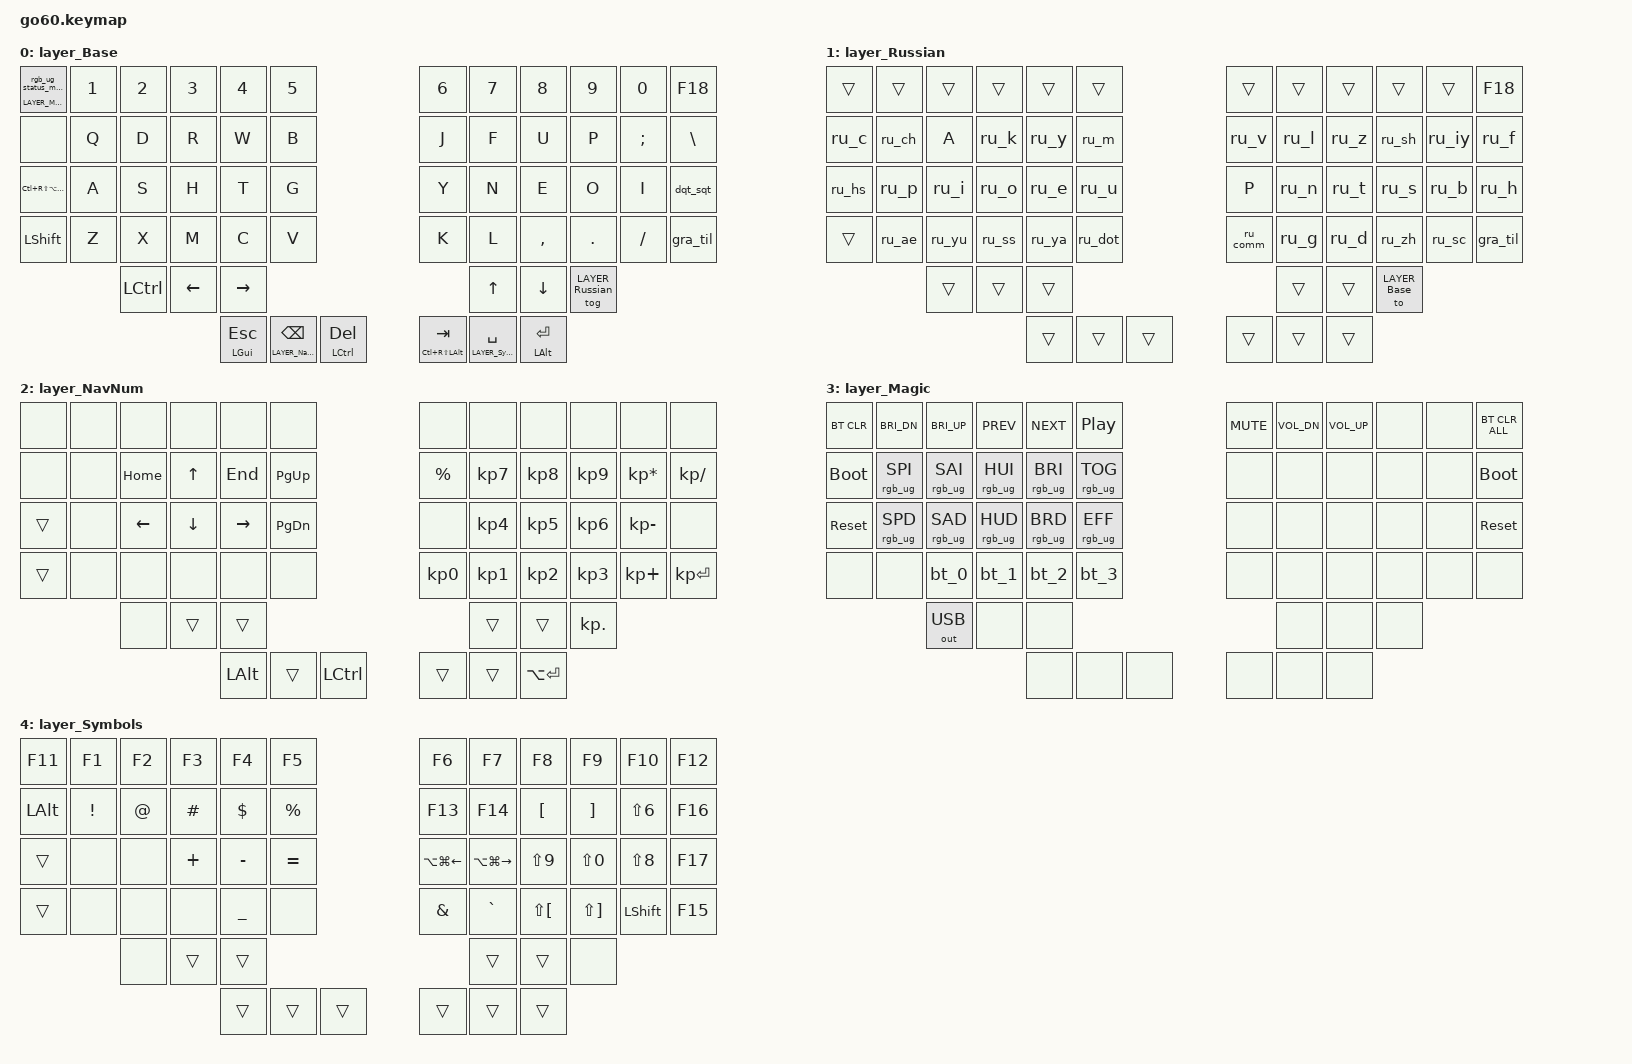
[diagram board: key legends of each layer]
/*
 * Copyright (c) 2020 The ZMK Contributors
 *
 * SPDX-License-Identifier: MIT
 *
 * Go60 keymap ported from the authoritative Glove80 source
 * https://github.com/ai212983/glove80 at origin/main commit
 * 8c2660d31894c59b61eb14e97ef6211ae06041ac.
 * See MIGRATION.md for provenance and the full move list.
 */

#include <behaviors.dtsi>

#include <dt-bindings/zmk/bt.h>
#include <dt-bindings/zmk/ext_power.h>
#include <dt-bindings/zmk/keys.h>
#include <dt-bindings/zmk/outputs.h>
#include <dt-bindings/zmk/rgb.h>
#include <dt-bindings/zmk/input_transform.h>
#include <dt-bindings/zmk/pointing.h>

#include <input/processors.dtsi>
#include <zephyr/dt-bindings/input/input-event-codes.h>

// layers
#define LAYER_Base 0
#define LAYER_Russian 1
#define LAYER_NavNum 2
#define LAYER_Magic 3
#define LAYER_Symbols 4

/* Imported from Glove80 source: mod-combos and host keys */
#define HYPR LC(RS(LA(LGUI)))
#define MEH LC(RS(LALT))

#define PRV_SPC F13
#define NXT_SPC F14
#define MSN_CTL F15
#define APP_LNC F16
#define APP_SWT F17

#define PSWD F18

#define PRV_TAB LA(LG(LEFT))
#define NXT_TAB LA(LG(RIGHT))

#define HOST_OS 2  // set to 2 for macOS/Windows-Alt-Codes, default is 0 (Windows)

#include "helper.h"
#include "international_chars/russian.dtsi"


// bind keys swap to LEFT shift, so they do not intefere with MEH/HYPER
#define L_MODMORPH(name, uc_binding, shifted_uc_binding) \
    / { \
        behaviors { \
            name: name { \
                compatible = "zmk,behavior-mod-morph"; \
                label = ZMK_HELPER_STRINGIFY(L_MORPH_ ## name); \
                #binding-cells = <0>; \
                bindings = <uc_binding>, <shifted_uc_binding>; \
                mods = <(MOD_LSFT)>; \
            }; \
        }; \
    };

L_MODMORPH(dqt_sqt, &kp DQT, &kp SQT)
L_MODMORPH(gra_til, &kp GRAVE, &kp TILDE)


/ {
    input_processors {
        zip_click_to_right_click_mapper: zip_click_to_right_click_mapper {
            compatible = "zmk,input-processor-code-mapper";
            #input-processor-cells = <0>;
            type = <INPUT_EV_KEY>;
            map = <INPUT_BTN_0 INPUT_BTN_1>;
        };
    };

    behaviors {
        magic: magic {
            compatible = "zmk,behavior-hold-tap";
            #binding-cells = <2>;
            flavor = "tap-preferred";
            tapping-term-ms = <200>;
            bindings = <&mo>, <&rgb_ug_status_macro>;
        };

        bt_0: bt_0 {
            compatible = "zmk,behavior-tap-dance";
            #binding-cells = <0>;
            tapping-term-ms = <200>;
            bindings = <&bt_select_0>, <&bt BT_DISC 0>;
        };
        bt_1: bt_1 {
            compatible = "zmk,behavior-tap-dance";
            #binding-cells = <0>;
            tapping-term-ms = <200>;
            bindings = <&bt_select_1>, <&bt BT_DISC 1>;
        };
        bt_2: bt_2 {
            compatible = "zmk,behavior-tap-dance";
            #binding-cells = <0>;
            tapping-term-ms = <200>;
            bindings = <&bt_select_2>, <&bt BT_DISC 2>;
        };
        bt_3: bt_3 {
            compatible = "zmk,behavior-tap-dance";
            #binding-cells = <0>;
            tapping-term-ms = <200>;
            bindings = <&bt_select_3>, <&bt BT_DISC 3>;
        };
    };

    macros {
        rgb_ug_status_macro: rgb_ug_status_macro {
            compatible = "zmk,behavior-macro";
            #binding-cells = <0>;
            bindings = <&rgb_ug RGB_STATUS>;
        };

        bt_select_0: bt_select_0 {
            compatible = "zmk,behavior-macro";
            #binding-cells = <0>;
            bindings
                = <&out OUT_BLE>,
                  <&bt BT_SEL 0>;
        };
        bt_select_1: bt_select_1 {
            compatible = "zmk,behavior-macro";
            #binding-cells = <0>;
            bindings
                = <&out OUT_BLE>,
                  <&bt BT_SEL 1>;
        };
        bt_select_2: bt_select_2 {
            compatible = "zmk,behavior-macro";
            #binding-cells = <0>;
            bindings
                = <&out OUT_BLE>,
                  <&bt BT_SEL 2>;
        };
        bt_select_3: bt_select_3 {
            compatible = "zmk,behavior-macro";
            #binding-cells = <0>;
            bindings
                = <&out OUT_BLE>,
                  <&bt BT_SEL 3>;
        };
    };

    keymap {
        compatible = "zmk,keymap";
        layer_Base {
            bindings = <
// num row (source number row; left outer &none -> Magic, right outer is source PSWD)
&magic LAYER_Magic 0  &kp N1     &kp N2   &kp N3    &kp N4  &kp N5                                                      &kp N6    &kp N7     &kp N8    &kp N9    &kp N0           &kp PSWD
// main row 2 (source Q-row)
              &none   &kp Q      &kp D    &kp R     &kp W   &kp B                                                       &kp J     &kp F      &kp U     &kp P     &kp SEMI          &kp BSLH
// main row 3 (source home row)
           &kp HYPR   &kp A      &kp S    &kp H     &kp T   &kp G                                                       &kp Y     &kp N      &kp E     &kp O     &kp I           &dqt_sqt
// main row 4 (source Z-row mains)
          &kp LSHFT   &kp Z      &kp X    &kp M     &kp C   &kp V                                                       &kp K     &kp L  &kp COMMA   &kp DOT  &kp FSLH          &gra_til
// lower extra (source bottom C4/C3/C2; outer &none -> LCTRL / tog Russian)
                            &kp LCTRL  &kp LEFT  &kp RIGHT                                                                      &kp UP   &kp DOWN      &tog LAYER_Russian
// thumbs (source T4/T5/T6; <3 SPACE remapped to Symbols=4)
                                                     &mt LGUI ESC  &lt LAYER_NavNum BSPC  &mt LCTRL DEL     &mt MEH TAB  &lt LAYER_Symbols SPACE  &mt LALT RET
            >;
        };

        layer_Russian {
            bindings = <
// num row (left outer &trans keeps Magic reachable via fallthrough; right outer is source PSWD)
               &trans    &trans     &trans   &trans    &trans  &trans                                                        &trans    &trans     &trans    &trans    &trans           &kp PSWD
// main row 2
               &ru_c     &ru_ch      &kp A   &ru_k     &ru_y   &ru_m                                                         &ru_v     &ru_l      &ru_z     &ru_sh    &ru_iy            &ru_f
// main row 3
              &ru_hs     &ru_p      &ru_i    &ru_o     &ru_e   &ru_u                                                          &kp P    &ru_n      &ru_t     &ru_s     &ru_b            &ru_h
// main row 4
              &trans    &ru_ae     &ru_yu   &ru_ss    &ru_ya  &ru_dot                                                      &ru_comm    &ru_g      &ru_d    &ru_zh    &ru_sc          &gra_til
// lower extra (fallthrough to Base arrows/LCTRL; &to Base exits Russian)
                               &trans     &trans     &trans                                                                          &trans    &trans      &to LAYER_Base
// thumbs (source T4/T5/T6 are &trans here)
                                                              &trans           &trans            &trans              &trans             &trans            &trans
            >;
        };

        layer_NavNum {
            bindings = <
// num row (source F-row discarded; number row all &none)
                &none     &none     &none    &none    &none     &none                                                          &none     &none      &none     &none       &none            &none
// main row 2
                &none     &none   &kp HOME   &kp UP   &kp END  &kp PG_UP                                                    &kp PRCNT  &kp KP_N7  &kp KP_N8 &kp KP_N9  &kp KP_MULTIPLY  &kp KP_DIVIDE
// main row 3
               &trans     &none   &kp LEFT &kp DOWN &kp RIGHT  &kp PG_DN                                                      &none  &kp KP_N4  &kp KP_N5 &kp KP_N6   &kp KP_MINUS        &none
// main row 4
               &trans     &none     &none    &none    &none     &none                                                       &kp KP_N0 &kp KP_N1  &kp KP_N2 &kp KP_N3    &kp KP_PLUS    &kp KP_ENTER
// lower extra
                                 &none     &trans     &trans                                                                          &trans    &trans   &kp KP_DOT
// thumbs (source T4/T5/T6)
                                                           &kp LALT            &trans         &kp LCTRL               &trans             &trans     &kp LA(RET)
            >;
        };

        layer_Magic {
            bindings = <
  &bt BT_CLR     &kp C_BRI_DN     &kp C_BRI_UP       &kp C_PREV       &kp C_NEXT         &kp C_PP                                &kp C_MUTE  &kp C_VOL_DN  &kp C_VOL_UP   &none   &none    &bt BT_CLR_ALL
 &bootloader  &rgb_ug RGB_SPI  &rgb_ug RGB_SAI  &rgb_ug RGB_HUI  &rgb_ug RGB_BRI  &rgb_ug RGB_TOG                                     &none         &none         &none   &none   &none       &bootloader
  &sys_reset  &rgb_ug RGB_SPD  &rgb_ug RGB_SAD  &rgb_ug RGB_HUD  &rgb_ug RGB_BRD  &rgb_ug RGB_EFF                                     &none         &none         &none   &none   &none        &sys_reset
       &none            &none            &bt_0            &bt_1            &bt_2            &bt_3                                     &none         &none         &none   &none   &none &none
                                  &out OUT_USB            &none            &none                                                                    &none         &none   &none
                                                                                            &none   &none   &none     &none   &none   &none
            >;
        };

        layer_Symbols {
            bindings = <
// num row (source F1..F10; F11/F12 on spare outer keys)
              &kp F11     &kp F1     &kp F2    &kp F3     &kp F4     &kp F5                                       &kp F6    &kp F7           &kp F8       &kp F9          &kp F10    &kp F12
// main row 2 (remote arrangement; left outer &none -> relocated plain LALT lost from source extra thumb)
              &kp LALT    &kp EXCL   &kp AT    &kp HASH   &kp DLLR    &kp PRCNT                             &kp PRV_SPC &kp NXT_SPC &kp LBKT &kp RBKT &kp LS(N6)  &kp APP_LNC
// main row 3 (remote arrangement)
               &trans     &none    &none    &kp PLUS  &kp MINUS    &kp EQUAL                                &kp PRV_TAB &kp NXT_TAB &kp LS(N9) &kp LS(N0) &kp LS(N8)  &kp APP_SWT
// main row 4 (remote arrangement; spare &none -> relocated plain LSHFT)
               &trans     &none    &none     &none   &kp UNDER     &none                                    &kp AMPS &kp GRAVE &kp LS(LBKT) &kp LS(RBKT) &kp LSHFT  &kp MSN_CTL
// lower extra
                                 &none     &trans     &trans                                                              &trans      &trans       &none
// thumbs (source T4/T5/T6 are &trans here)
                                                              &trans           &trans            &trans              &trans             &trans            &trans
            >;
        };
    };
};

&cirque_rh_listener {
    input-processors = <&zip_xy_scaler 3 1>;
    layer_2 {
        layers = <2>;
        input-processors = <&zip_xy_scaler 9 1>;
    };
};

&cirque_lh_listener {
    input-processors = <&zip_xy_to_scroll_mapper>, <&zip_xy_scaler 1 8>, <&zip_click_to_right_click_mapper>;
};
